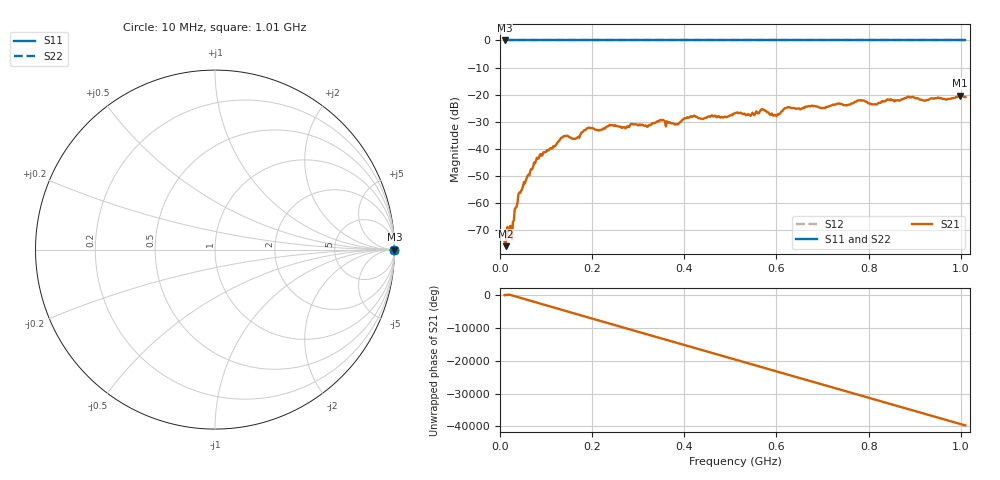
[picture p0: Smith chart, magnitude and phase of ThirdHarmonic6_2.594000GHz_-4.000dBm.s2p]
! 8/17/2025 5:34:20 AM
! C:\ANRITSUVNA\TEMP\TEMP.S2P
! CHANNEL.1
! TR.MEASUREMENT
! RAW.DATA
! RF.CORRECTION.OFF
! AVERAGING.OFF
! IF.BANDWIDTH: 5KHZ
! SWEEPTYPE:  FREQ.SWEEP(Linear)
! Reference Plane Port Info
! PORT:  PORT1  PORT2
! DISTANCE:  0  m  0  m
! TIME:  0  s  0  s
! PHASE.OFFSET:  0  deg.  0  deg.
! LOSS:  0  dB  0  dB
! REF.LOSS:  0  dB  0  dB
! REF.FREQ:  0  Hz  0  Hz
! Power Info
! POWER:  -20  dBm  -20  dBm
! EFF.POWER:  -20  dBm  -20  dBm
! SOURCE.ATTEN:  0  dB  0  dB
! TEST.ATTEN:  0  dB  0  dB
# GHZ S RI R 50.0
! FREQ.GHZ  S11RE  S11IM  S21RE  S21IM  S12RE  S12IM  S22RE  S22IM
!; PortSelection: Port_12
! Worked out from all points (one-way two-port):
!   501 points, 10 MHz to 1.01 GHz, reference 50 ohm
!   highest |S21| = -20.33 dB at 998 MHz (marker M1); lowest = -76.0 dB at 12 MHz (marker M2)
!   lowest |S11| = 0.0 dB at 10 MHz (marker M3)
!   |S11| at or under -10 dB: nowhere
!   |S22| runs from 0.0 to 0.0 dB; largest |S21 - S12| = 1.1
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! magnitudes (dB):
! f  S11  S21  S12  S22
! 10 MHz  0.0  -74.3  0.0  0.0
! 12 MHz  0.0  -76.0  0.0  0.0
! 20 MHz  0.0  -70.1  0.0  0.0
! 26 MHz  0.0  -73.5  0.0  0.0
! 44 MHz  0.0  -56.3  0.0  0.0
! 78 MHz  0.0  -44.4  0.0  0.0
! 136 MHz  0.0  -35.7  0.0  0.0
! 162 MHz  0.0  -36.3  0.0  0.0
! 178 MHz  0.0  -33.9  0.0  0.0
! 344 MHz  0.0  -30.0  0.0  0.0
! 382 MHz  0.0  -30.9  0.0  0.0
! 418 MHz  0.0  -28.1  0.0  0.0
! 510 MHz  0.0  -26.8  0.0  0.0
! 570 MHz  0.0  -25.4  0.0  0.0
! 598 MHz  0.0  -27.6  0.0  0.0
! 622 MHz  0.0  -24.9  0.0  0.0
! 678 MHz  0.0  -24.1  0.0  0.0
! 780 MHz  0.0  -22.1  0.0  0.0
! 814 MHz  0.0  -23.5  0.0  0.0
! 844 MHz  0.0  -21.9  0.0  0.0
! 998 MHz  0.0  -20.3  0.0  0.0
! 1.01 GHz  0.0  -20.9  0.0  0.0
